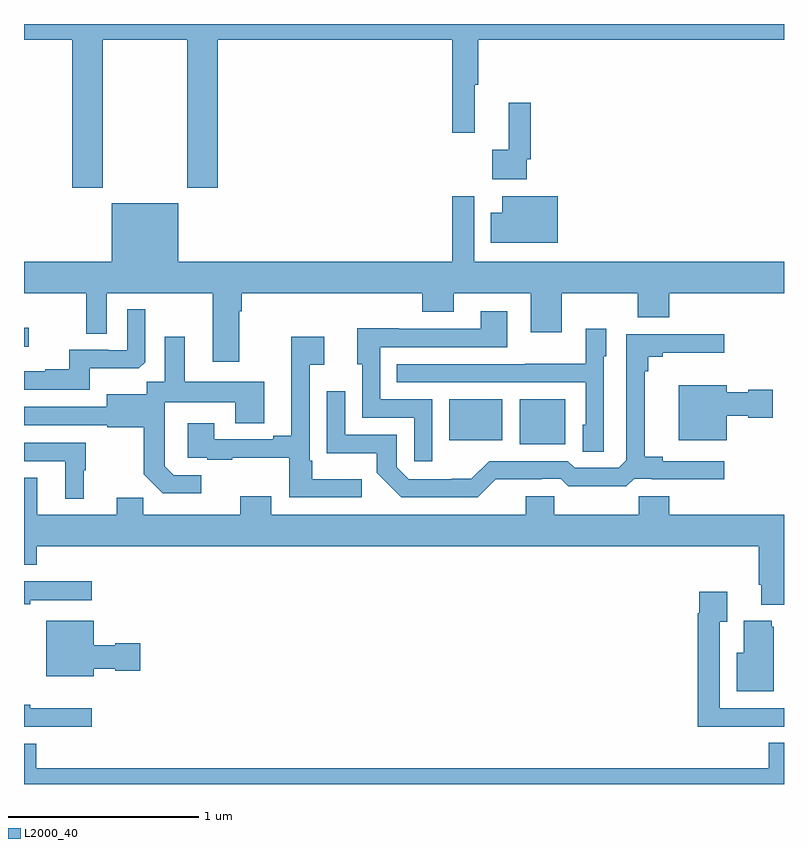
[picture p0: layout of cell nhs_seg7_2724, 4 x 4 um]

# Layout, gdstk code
import gdstk
lib = gdstk.Library(unit=1e-6, precision=1e-09)
def R(c, l, rs):  # rectangles x0, y0, x1, y1
    for r in rs: c.add(gdstk.rectangle(r[:2], r[2:], *l))
def P(c, l, *ps):  # polygons
    for p in ps: c.add(gdstk.Polygon(p, *l))
L2000_40 = (2000, 40)

nhs_seg7_2724 = lib.new_cell('nhs_seg7_2724')
R(nhs_seg7_2724, L2000_40, [(289.61,1031.789,289.849,1032.025), (289.238,1031.81,289.516,1032.025), (287,1032.302,287.026,1032.401)])
P(nhs_seg7_2724, L2000_40, [(287.415,1033.916),(287.86,1033.916),(287.86,1033.137),(288.02,1033.137),(288.02,1033.916),(289.255,1033.916),(289.255,1033.428),(289.373,1033.428),(289.373,1033.68),(289.391,1033.68),(289.391,1033.916),(291,1033.916),(291,1034),(287,1034),(287,1033.916),(287.255,1033.916),(287.255,1033.137),(287.415,1033.137)],
  [(289.647,1033.288),(289.667,1033.288),(289.667,1033.585),(289.55,1033.585),(289.55,1033.337),(289.464,1033.337),(289.464,1033.184),(289.647,1033.184)],
  [(289.81,1033.093),(289.517,1033.093),(289.517,1033.006),(289.456,1033.006),(289.456,1032.848),(289.81,1032.848)],
  [(288.133,1032.488),(288.146,1032.488),(288.146,1032.584),(289.097,1032.584),(289.097,1032.485),(289.261,1032.485),(289.261,1032.584),(289.667,1032.584),(289.667,1032.378),(289.831,1032.378),(289.831,1032.584),(290.231,1032.584),(290.231,1032.456),(290.395,1032.456),(290.395,1032.584),(291,1032.584),(291,1032.748),(289.371,1032.748),(289.371,1033.093),(289.255,1033.093),(289.255,1032.748),(287.812,1032.748),(287.812,1033.057),(287.462,1033.057),(287.462,1032.748),(287,1032.748),(287,1032.584),(287.328,1032.584),(287.328,1032.37),(287.436,1032.37),(287.436,1032.584),(287.993,1032.584),(287.993,1032.222),(288.133,1032.222)],
  [(287.347,1032.188),(287.605,1032.188),(287.637,1032.219),(287.637,1032.499),(287.544,1032.499),(287.544,1032.282),(287.444,1032.282),(287.444,1032.285),(287.237,1032.285),(287.237,1032.184),(287.113,1032.184),(287.113,1032.172),(287,1032.172),(287,1032.075),(287.347,1032.075)],
  [(289.149,1032.024),(288.876,1032.024),(288.876,1032.3),(289.543,1032.3),(289.543,1032.487),(289.403,1032.487),(289.403,1032.396),(288.973,1032.396),(288.973,1032.398),(288.755,1032.398),(288.755,1032.21),(288.78,1032.21),(288.78,1031.928),(289.053,1031.928),(289.053,1031.7),(289.149,1031.7)],
  [(290.052,1032.252),(290.065,1032.252),(290.065,1032.397),(289.956,1032.397),(289.956,1032.211),(289.639,1032.211),(289.639,1032.21),(288.961,1032.21),(288.961,1032.114),(289.956,1032.114),(289.956,1031.892),(289.94,1031.892),(289.94,1031.749),(290.052,1031.749)],
  [(289.484,1031.603),(289.724,1031.603),(289.724,1031.607),(289.824,1031.607),(289.864,1031.568),(290.171,1031.568),(290.211,1031.607),(290.305,1031.607),(290.305,1031.603),(290.686,1031.603),(290.686,1031.7),(290.362,1031.7),(290.362,1031.723),(290.267,1031.723),(290.267,1032.173),(290.285,1032.173),(290.285,1032.25),(290.362,1032.25),(290.362,1032.269),(290.686,1032.269),(290.686,1032.366),(290.169,1032.366),(290.169,1031.703),(290.13,1031.664),(289.899,1031.664),(289.863,1031.7),(289.449,1031.7),(289.355,1031.606),(289.25,1031.606),(289.25,1031.604),(289.026,1031.604),(288.963,1031.667),(288.963,1031.838),(288.69,1031.838),(288.69,1032.067),(288.594,1032.067),(288.594,1031.741),(288.856,1031.741),(288.856,1031.639),(288.986,1031.508),(289.389,1031.508)],
  [(288.778,1031.605),(288.517,1031.605),(288.517,1031.701),(288.504,1031.701),(288.504,1032.206),(288.58,1032.206),(288.58,1032.355),(288.407,1032.355),(288.407,1031.833),(288.311,1031.833),(288.311,1031.814),(288.001,1031.814),(288.001,1031.899),(287.861,1031.899),(287.861,1031.718),(287.965,1031.718),(287.965,1031.706),(288.097,1031.706),(288.097,1031.717),(288.396,1031.717),(288.396,1031.508),(288.778,1031.508)],
  [(287.932,1031.625),(287.787,1031.625),(287.74,1031.672),(287.74,1031.767),(287.742,1031.767),(287.742,1032.008),(288.113,1032.008),(288.113,1031.899),(288.265,1031.899),(288.265,1032.118),(287.845,1032.118),(287.845,1032.355),(287.741,1032.355),(287.741,1032.116),(287.646,1032.116),(287.646,1032.052),(287.435,1032.052),(287.435,1031.985),(287,1031.985),(287,1031.889),(287.439,1031.889),(287.439,1031.877),(287.631,1031.877),(287.631,1031.631),(287.731,1031.531),(287.932,1031.531)],
  [(290.698,1031.939),(290.811,1031.939),(290.811,1031.927),(290.941,1031.927),(290.941,1032.074),(290.811,1032.074),(290.811,1032.061),(290.698,1032.061),(290.698,1032.1),(290.447,1032.1),(290.447,1031.81),(290.698,1031.81)],
  [(287.314,1031.652),(287.326,1031.652),(287.326,1031.796),(287,1031.796),(287,1031.7),(287.216,1031.7),(287.216,1031.501),(287.314,1031.501)],
  [(291,1031.416),(290.396,1031.416),(290.396,1031.514),(290.236,1031.514),(290.236,1031.416),(289.791,1031.416),(289.791,1031.514),(289.64,1031.514),(289.64,1031.416),(288.301,1031.416),(288.301,1031.515),(288.137,1031.515),(288.137,1031.416),(287.627,1031.416),(287.627,1031.507),(287.489,1031.507),(287.489,1031.416),(287.071,1031.416),(287.071,1031.611),(287,1031.611),(287,1031.154),(287.066,1031.154),(287.066,1031.252),(290.867,1031.252),(290.867,1031.05),(290.879,1031.05),(290.879,1030.943),(291,1030.943)],
  [(287.032,1030.968),(287.356,1030.968),(287.356,1031.066),(287,1031.066),(287,1030.946),(287.032,1030.946)],
  [(290.837,1030.302),(291,1030.302),(291,1030.398),(290.661,1030.398),(290.661,1030.855),(290.701,1030.855),(290.701,1031.011),(290.553,1031.011),(290.553,1030.898),(290.545,1030.898),(290.545,1030.301),(290.837,1030.301)],
  [(287.368,1030.607),(287.481,1030.607),(287.481,1030.595),(287.611,1030.595),(287.611,1030.742),(287.481,1030.742),(287.481,1030.729),(287.368,1030.729),(287.368,1030.858),(287.117,1030.858),(287.117,1030.568),(287.368,1030.568)],
  [(290.947,1030.827),(290.936,1030.827),(290.936,1030.858),(290.789,1030.858),(290.789,1030.69),(290.75,1030.69),(290.75,1030.487),(290.947,1030.487)],
  [(287.356,1030.399),(287.032,1030.399),(287.032,1030.418),(287,1030.418),(287,1030.302),(287.356,1030.302)],
  [(291,1030.217),(290.921,1030.217),(290.921,1030.084),(287.065,1030.084),(287.065,1030.213),(287,1030.213),(287,1030),(291,1030)])

lib.write_gds('nhs_seg7_2724.gds')
